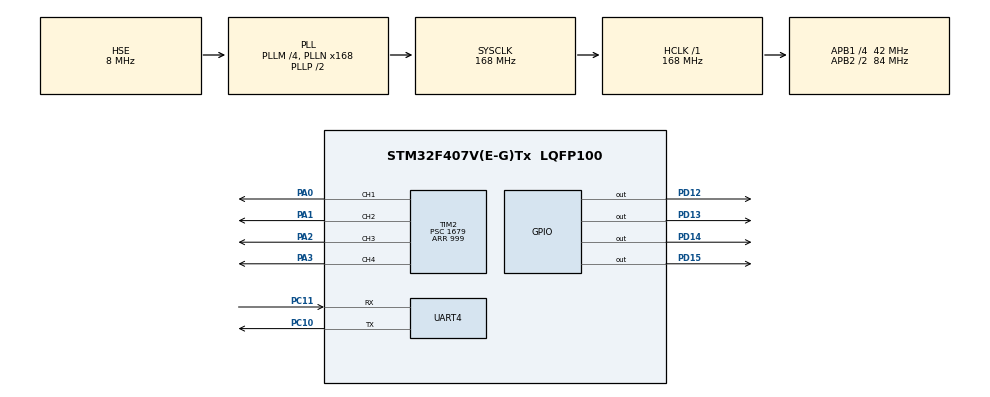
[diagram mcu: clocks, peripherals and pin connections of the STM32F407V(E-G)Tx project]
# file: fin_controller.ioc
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Mcu.Family=STM32F4
Mcu.Name=STM32F407V(E-G)Tx
Mcu.Package=LQFP100
NVIC.PriorityGroup=NVIC_PRIORITYGROUP_4
NVIC.TIM2_IRQn=true\:0\:0\:false\:false\:true\:true\:true\:true
NVIC.UART4_IRQn=true\:0\:0\:false\:false\:true\:true\:true\:true
PA0-WKUP.Signal=S_TIM2_CH1_ETR
PA1.Signal=S_TIM2_CH2
PA13.Mode=Serial_Wire
PA13.Signal=SYS_JTMS-SWDIO
PA14.Mode=Serial_Wire
PA14.Signal=SYS_JTCK-SWCLK
PA2.Signal=S_TIM2_CH3
PA3.Signal=S_TIM2_CH4
PC10.Mode=Asynchronous
PC10.Signal=UART4_TX
PC11.Mode=Asynchronous
PC11.Signal=UART4_RX
PD12.Signal=GPIO_Output
PD13.Signal=GPIO_Output
PD14.Signal=GPIO_Output
PD15.Signal=GPIO_Output
PH0-OSC_IN.Mode=HSE-External-Oscillator
PH0-OSC_IN.Signal=RCC_OSC_IN
PH1-OSC_OUT.Mode=HSE-External-Oscillator
PH1-OSC_OUT.Signal=RCC_OSC_OUT
ProjectManager.HeapSize=0x200
ProjectManager.StackSize=0x400
ProjectManager.TargetToolchain=STM32CubeIDE
RCC.48MHZClocksFreq_Value=84000000
RCC.AHBFreq_Value=168000000
RCC.APB1CLKDivider=RCC_HCLK_DIV4
RCC.APB1Freq_Value=42000000
RCC.APB1TimFreq_Value=84000000
RCC.APB2CLKDivider=RCC_HCLK_DIV2
RCC.APB2Freq_Value=84000000
RCC.APB2TimFreq_Value=168000000
RCC.CortexFreq_Value=168000000
RCC.HCLKFreq_Value=168000000
RCC.HSE_VALUE=8000000
RCC.HSI_VALUE=16000000
RCC.LSE_VALUE=32768
RCC.PLLM=4
RCC.PLLN=168
RCC.PLLSourceVirtual=RCC_PLLSOURCE_HSE
RCC.SYSCLKFreq_VALUE=168000000
RCC.SYSCLKSource=RCC_SYSCLKSOURCE_PLLCLK
RCC.VCOOutputFreq_Value=336000000
SH.S_TIM2_CH1_ETR.0=TIM2_CH1,PWM Generation1 CH1
SH.S_TIM2_CH2.0=TIM2_CH2,PWM Generation2 CH2
SH.S_TIM2_CH3.0=TIM2_CH3,PWM Generation3 CH3
SH.S_TIM2_CH4.0=TIM2_CH4,PWM Generation4 CH4
TIM2.Channel-PWM\ Generation1\ CH1=TIM_CHANNEL_1
TIM2.Channel-PWM\ Generation2\ CH2=TIM_CHANNEL_2
TIM2.Channel-PWM\ Generation3\ CH3=TIM_CHANNEL_3
TIM2.Channel-PWM\ Generation4\ CH4=TIM_CHANNEL_4
TIM2.Period=999
TIM2.Prescaler=1679
UART4.VirtualMode=Asynchronous
VP_TIM2_VS_ClockSourceINT.Mode=Internal
board=custom

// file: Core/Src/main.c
/* USER CODE BEGIN Header */
/**
  ******************************************************************************
  * @file           : main.c
  * @brief          : Main program body
  ******************************************************************************
  * @attention
  *
  * Copyright (c) 2025 STMicroelectronics.
  * All rights reserved.
  *
  * This software is licensed under terms that can be found in the LICENSE file
  * in the root directory of this software component.
  * If no LICENSE file comes with this software, it is provided AS-IS.
  *
  ******************************************************************************
  */
/* USER CODE END Header */
#include "main.h"

/* USER CODE BEGIN Includes */
#include <string.h>   // strtok için
#include <stdlib.h>   // atoi içi
/* USER CODE END Includes */

/* USER CODE BEGIN PD */
#define PWM_CENTER 75
#define PWM_MIN    50
#define PWM_MAX    100

float Kp_X  = 0.1f;
float Ki_X  = 0.0f;
float Kd_X  = 0.0f;

float Kp_Y  = 0.1f;
float Ki_Y  = 0.0f;
float Kd_Y  = 0.0f;

#define DT 0.05f  // 50ms döngü süresi
#define CONTROL_MAX 25
#define CONTROL_MIN -25
#define INTEGRAL_MAX 500
#define INTEGRAL_MIN -500

#define CLAMP(x, low, high) ((x) < (low) ? (low) : ((x) > (high) ? (high) : (x)))

#define RX_BUFFER_SIZE 64

/* USER CODE END PD */

TIM_HandleTypeDef htim2;

UART_HandleTypeDef huart4;

/* USER CODE BEGIN PV */
uint8_t tx_buffer[10] = "I am STM\n\r";
uint8_t rx_indx;
uint8_t rx_data[20];
uint8_t rx_buffer[100];
uint8_t transfer_cplt;
char uart_buffer[RX_BUFFER_SIZE];
uint8_t uart_pos = 0;

int bbox_center_x = 0;
int bbox_center_y = 0;

int pwm_pitch_left;
int pwm_pitch_right;
int pwm_roll_up;
int pwm_roll_down;

// PID state
float integral_x = 0, prev_error_x = 0;
float integral_y = 0, prev_error_y = 0;
/* USER CODE END PV */

void SystemClock_Config(void);
static void MX_GPIO_Init(void);
static void MX_TIM2_Init(void);
static void MX_UART4_Init(void);

/* USER CODE BEGIN 0 */

void update_servos()
{
    int setpoint_x = 320;
    int setpoint_y = 240;

    int error_x = setpoint_x - bbox_center_x;
    int error_y = setpoint_y - bbox_center_y;

    // Integrator update
    integral_x += error_x * DT;
    integral_y += error_y * DT;

    integral_x = CLAMP(integral_x, INTEGRAL_MIN, INTEGRAL_MAX);
    integral_y = CLAMP(integral_y, INTEGRAL_MIN, INTEGRAL_MAX);

    // Derivative
    float derivative_x = (error_x - prev_error_x) / DT;
    float derivative_y = (error_y - prev_error_y) / DT;

    // PID output
    float control_x = Kp_X * error_x + Ki_X * integral_x + Kd_X * derivative_x;
    float control_y = Kp_Y * error_y + Ki_Y * integral_y + Kd_Y * derivative_y;

    control_x = CLAMP(control_x, CONTROL_MIN, CONTROL_MAX);
    control_y = CLAMP(control_y, CONTROL_MIN, CONTROL_MAX);

    prev_error_x = error_x;
    prev_error_y = error_y;

    // Servo PWM hesapla
    pwm_pitch_left  = PWM_CENTER + (int)control_x;
    pwm_pitch_right = PWM_CENTER - (int)control_x;
    pwm_roll_up     = PWM_CENTER + (int)control_y;
    pwm_roll_down   = PWM_CENTER - (int)control_y;

    pwm_pitch_left  = CLAMP(pwm_pitch_left,  PWM_MIN, PWM_MAX);
    pwm_pitch_right = CLAMP(pwm_pitch_right, PWM_MIN, PWM_MAX);
    pwm_roll_up     = CLAMP(pwm_roll_up,     PWM_MIN, PWM_MAX);
    pwm_roll_down   = CLAMP(pwm_roll_down,   PWM_MIN, PWM_MAX);

    // PWM çıkışı gönder
    __HAL_TIM_SET_COMPARE(&htim2, TIM_CHANNEL_1, pwm_pitch_left);
    __HAL_TIM_SET_COMPARE(&htim2, TIM_CHANNEL_2, pwm_pitch_right);
    __HAL_TIM_SET_COMPARE(&htim2, TIM_CHANNEL_3, pwm_roll_up);
    __HAL_TIM_SET_COMPARE(&htim2, TIM_CHANNEL_4, pwm_roll_down);
}
/* USER CODE END 0 */

int main(void)
{

  /* MCU Configuration--------------------------------------------------------*/

  /* Reset of all peripherals, Initializes the Flash interface and the Systick. */
  HAL_Init();

  /* Configure the system clock */
  SystemClock_Config();

  /* Initialize all configured peripherals */
  MX_GPIO_Init();
  MX_TIM2_Init();
  MX_UART4_Init();
  /* USER CODE BEGIN 2 */
  HAL_TIM_PWM_Start(&htim2, TIM_CHANNEL_1);
  HAL_TIM_PWM_Start(&htim2, TIM_CHANNEL_2);
  HAL_TIM_PWM_Start(&htim2, TIM_CHANNEL_3);
  HAL_TIM_PWM_Start(&htim2, TIM_CHANNEL_4);

//  __HAL_TIM_SET_COMPARE(&htim2, TIM_CHANNEL_1, 100);
//  __HAL_TIM_SET_COMPARE(&htim2, TIM_CHANNEL_2, 75);
//  __HAL_TIM_SET_COMPARE(&htim2, TIM_CHANNEL_3, 50);
//  __HAL_TIM_SET_COMPARE(&htim2, TIM_CHANNEL_4, 120);

  HAL_UART_Receive_IT(&huart4, rx_data, 1);

  /* USER CODE END 2 */

  /* Infinite loop */
  while (1)
  {

    /* USER CODE BEGIN 3 */
	  update_servos();
	  HAL_UART_Transmit(&huart4, tx_buffer, 10, 10);
	  HAL_Delay(50);
  }
  /* USER CODE END 3 */
}

void SystemClock_Config(void)
{
  RCC_OscInitTypeDef RCC_OscInitStruct = {0};
  RCC_ClkInitTypeDef RCC_ClkInitStruct = {0};

  /** Configure the main internal regulator output voltage
  */
  __HAL_RCC_PWR_CLK_ENABLE();
  __HAL_PWR_VOLTAGESCALING_CONFIG(PWR_REGULATOR_VOLTAGE_SCALE1);

  /** Initializes the RCC Oscillators according to the specified parameters
  * in the RCC_OscInitTypeDef structure.
  */
  RCC_OscInitStruct.OscillatorType = RCC_OSCILLATORTYPE_HSE;
  RCC_OscInitStruct.HSEState = RCC_HSE_ON;
  RCC_OscInitStruct.PLL.PLLState = RCC_PLL_ON;
  RCC_OscInitStruct.PLL.PLLSource = RCC_PLLSOURCE_HSE;
  RCC_OscInitStruct.PLL.PLLM = 4;
  RCC_OscInitStruct.PLL.PLLN = 168;
  RCC_OscInitStruct.PLL.PLLP = RCC_PLLP_DIV2;
  RCC_OscInitStruct.PLL.PLLQ = 4;
  if (HAL_RCC_OscConfig(&RCC_OscInitStruct) != HAL_OK)
  {
    Error_Handler();
  }

  /** Initializes the CPU, AHB and APB buses clocks
  */
  RCC_ClkInitStruct.ClockType = RCC_CLOCKTYPE_HCLK|RCC_CLOCKTYPE_SYSCLK
                              |RCC_CLOCKTYPE_PCLK1|RCC_CLOCKTYPE_PCLK2;
  RCC_ClkInitStruct.SYSCLKSource = RCC_SYSCLKSOURCE_PLLCLK;
  RCC_ClkInitStruct.AHBCLKDivider = RCC_SYSCLK_DIV1;
  RCC_ClkInitStruct.APB1CLKDivider = RCC_HCLK_DIV4;
  RCC_ClkInitStruct.APB2CLKDivider = RCC_HCLK_DIV2;

  if (HAL_RCC_ClockConfig(&RCC_ClkInitStruct, FLASH_LATENCY_5) != HAL_OK)
  {
    Error_Handler();
  }
}

static void MX_TIM2_Init(void)
{

  TIM_ClockConfigTypeDef sClockSourceConfig = {0};
  TIM_MasterConfigTypeDef sMasterConfig = {0};
  TIM_OC_InitTypeDef sConfigOC = {0};

  htim2.Instance = TIM2;
  htim2.Init.Prescaler = 1679;
  htim2.Init.CounterMode = TIM_COUNTERMODE_UP;
  htim2.Init.Period = 999;
  htim2.Init.ClockDivision = TIM_CLOCKDIVISION_DIV1;
  htim2.Init.AutoReloadPreload = TIM_AUTORELOAD_PRELOAD_DISABLE;
  if (HAL_TIM_Base_Init(&htim2) != HAL_OK)
  {
    Error_Handler();
  }
  sClockSourceConfig.ClockSource = TIM_CLOCKSOURCE_INTERNAL;
  if (HAL_TIM_ConfigClockSource(&htim2, &sClockSourceConfig) != HAL_OK)
  {
    Error_Handler();
  }
  if (HAL_TIM_PWM_Init(&htim2) != HAL_OK)
  {
    Error_Handler();
  }
  sMasterConfig.MasterOutputTrigger = TIM_TRGO_RESET;
  sMasterConfig.MasterSlaveMode = TIM_MASTERSLAVEMODE_DISABLE;
  if (HAL_TIMEx_MasterConfigSynchronization(&htim2, &sMasterConfig) != HAL_OK)
  {
    Error_Handler();
  }
  sConfigOC.OCMode = TIM_OCMODE_PWM1;
  sConfigOC.Pulse = 0;
  sConfigOC.OCPolarity = TIM_OCPOLARITY_HIGH;
  sConfigOC.OCFastMode = TIM_OCFAST_DISABLE;
  if (HAL_TIM_PWM_ConfigChannel(&htim2, &sConfigOC, TIM_CHANNEL_1) != HAL_OK)
  {
    Error_Handler();
  }
  if (HAL_TIM_PWM_ConfigChannel(&htim2, &sConfigOC, TIM_CHANNEL_2) != HAL_OK)
  {
    Error_Handler();
  }
  if (HAL_TIM_PWM_ConfigChannel(&htim2, &sConfigOC, TIM_CHANNEL_3) != HAL_OK)
  {
    Error_Handler();
  }
  if (HAL_TIM_PWM_ConfigChannel(&htim2, &sConfigOC, TIM_CHANNEL_4) != HAL_OK)
  {
    Error_Handler();
  }
  HAL_TIM_MspPostInit(&htim2);

}

static void MX_UART4_Init(void)
{

  huart4.Instance = UART4;
  huart4.Init.BaudRate = 115200;
  huart4.Init.WordLength = UART_WORDLENGTH_8B;
  huart4.Init.StopBits = UART_STOPBITS_1;
  huart4.Init.Parity = UART_PARITY_NONE;
  huart4.Init.Mode = UART_MODE_TX_RX;
  huart4.Init.HwFlowCtl = UART_HWCONTROL_NONE;
  huart4.Init.OverSampling = UART_OVERSAMPLING_16;
  if (HAL_UART_Init(&huart4) != HAL_OK)
  {
    Error_Handler();
  }

}

static void MX_GPIO_Init(void)
{
  GPIO_InitTypeDef GPIO_InitStruct = {0};

  /* GPIO Ports Clock Enable */
  __HAL_RCC_GPIOH_CLK_ENABLE();
  __HAL_RCC_GPIOA_CLK_ENABLE();
  __HAL_RCC_GPIOD_CLK_ENABLE();
  __HAL_RCC_GPIOC_CLK_ENABLE();

  /*Configure GPIO pin Output Level */
  HAL_GPIO_WritePin(GPIOD, GPIO_PIN_12|GPIO_PIN_13|GPIO_PIN_14|GPIO_PIN_15, GPIO_PIN_RESET);

  /*Configure GPIO pins : PD12 PD13 PD14 PD15 */
  GPIO_InitStruct.Pin = GPIO_PIN_12|GPIO_PIN_13|GPIO_PIN_14|GPIO_PIN_15;
  GPIO_InitStruct.Mode = GPIO_MODE_OUTPUT_PP;
  GPIO_InitStruct.Pull = GPIO_NOPULL;
  GPIO_InitStruct.Speed = GPIO_SPEED_FREQ_LOW;
  HAL_GPIO_Init(GPIOD, &GPIO_InitStruct);

}

/* USER CODE BEGIN 4 */
void HAL_UART_RxCpltCallback(UART_HandleTypeDef *huart)
{
    if (huart->Instance == UART4) {
        char c = rx_data[0];  // tek karakter alıyoruz

        if (c == '\n') {
            uart_buffer[uart_pos] = '\0';  // string sonu
            uart_pos = 0;

            // Şimdi buffer'ı parse edelim
            char *token;
            token = strtok(uart_buffer, ",");
            if (token != NULL) {
                bbox_center_x = atoi(token);
                token = strtok(NULL, ",");
                if (token != NULL) {
                    bbox_center_y = atoi(token);
                }
            }

            // NOT: Raspberry'e geri bir şey göndermiyoruz, burası boş
        }
        else {
            if (uart_pos < RX_BUFFER_SIZE - 1) {
                uart_buffer[uart_pos++] = c;
            }
        }

        // Sonraki karakter için interrupt’ı tekrar başlat
        HAL_UART_Receive_IT(&huart4, rx_data, 1);
    }
}

/* USER CODE END 4 */

void Error_Handler(void)
{
  __disable_irq();
  while (1)
  {
  }
}
